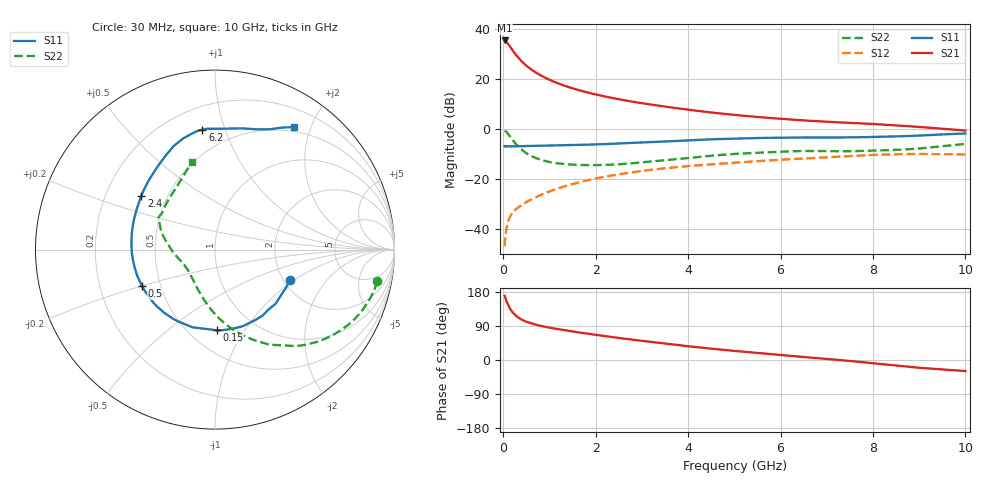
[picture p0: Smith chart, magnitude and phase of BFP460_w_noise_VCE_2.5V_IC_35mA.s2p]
! (c) 2016  Infineon Technologies AG, Munich
! Infineon Technologies  Discrete & RF Semiconductors
! BFP460
! VCE =  2.5 V,  IC =  35 mA
! Common Emitter S-Parameters:  Jan 2016
# GHz  S  MA  R  50
!  f  S11  S21  S12  S22
! GHz  MAG  ANG  MAG  ANG  MAG  ANG  MAG  ANG
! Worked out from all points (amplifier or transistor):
!   229 points, 30 MHz to 10 GHz, reference 50 ohm
!   highest |S21| = 35.4 dB at 30 MHz (marker M1)
!   |S21| within 3 dB of that: start of sweep to 165.9 MHz
!   unconditionally stable (mu >= 1): 1.372 GHz to 7.658 GHz
!   at 280 MHz: K = 0.56, MSG = 30.8 dB, |S12| = -32.0 dB
!   at 1.78 GHz: K = 1.02, MAG = 16.9 dB, |S12| = -20.7 dB
!   at 10 GHz: K = 0.97, MSG = 4.8 dB, |S12| = -10.2 dB
!   lowest NFmin = 1.56 dB at 450 MHz
!   S11 on the Smith chart (normalised r, x): 30 MHz: 2.18, -0.92; 150 MHz: 0.67, -0.76; 500 MHz: 0.39, -0.20; 2.4 GHz: 0.36, +0.29; 6.2 GHz: 0.34, +0.84; 10 GHz: 0.44, +1.75
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0.03  0.4523 -21.7  59.2 169.4  0.0045 82.9  0.9222 -11.1
0.05  0.4471 -34.8  57.24 161.8  0.0074 80.1  0.9021 -18.7
0.07  0.4475 -48.9  55.31 155.3  0.0101 74.2  0.8708 -26.1
0.09  0.4521 -60.3  52.6 149.5  0.0123 70.7  0.8308 -32.9
0.12  0.4518 -75.8  48.28 141.7  0.0153 66.4  0.7675 -42.0
0.15  0.4495 -88.8  43.99 134.9  0.0178 63.0  0.7036 -49.8
0.2  0.4507 -106.1  37.78 126.1  0.021 59.6  0.609 -60.4
0.24  0.4497 -116.7  33.62 120.9  0.0231 58.1  0.5465 -66.9
0.3  0.4517 -129.1  28.52 114.2  0.0259 57.0  0.4708 -75.8
0.4  0.453 -143.5  22.53 106.5  0.0301 57.1  0.3842 -86.6
0.5  0.4547 -153.6  18.51 101.1  0.0343 58.0  0.3277 -94.9
0.7  0.4587 -167.1  13.55 93.4  0.0428 59.9  0.2627 -107.6
0.9  0.4632 -176.4  10.68 87.8  0.0516 61.0  0.2288 -117.3
1.2  0.4687 173.0  8.09 81.0  0.0652 61.3  0.2038 -128.2
1.7  0.4816 159.5  5.763 71.6  0.0881 59.5  0.1898 -141.3
2.4  0.5076 144.1  4.105 59.8  0.1194 54.6  0.1939 -156.7
3.4  0.5555 126.5  2.888 44.9  0.1594 46.0  0.2311 -175.6
5.1  0.6462 105.2  1.875 23.0  0.2141 32.5  0.3201 160.3
6.2  0.6717 96.0  1.552 11.1  0.2475 24.1  0.3554 151.9
6.8  0.673 90.9  1.428 5.0  0.2646 19.8  0.3609 149.3
8.4  0.7047 72.3  1.195 -13.5  0.3109 5.3  0.3785 133.6
10  0.8114 57.2  0.929 -29.1  0.3095 -7.4  0.5024 104.8
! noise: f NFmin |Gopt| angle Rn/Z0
0.45  1.56  0.23  -168  0.12
0.9  1.59  0.2  -163  0.13
1.9  1.71  0.31  -143  0.14
3.5  1.58  0.54  -119  0.2
